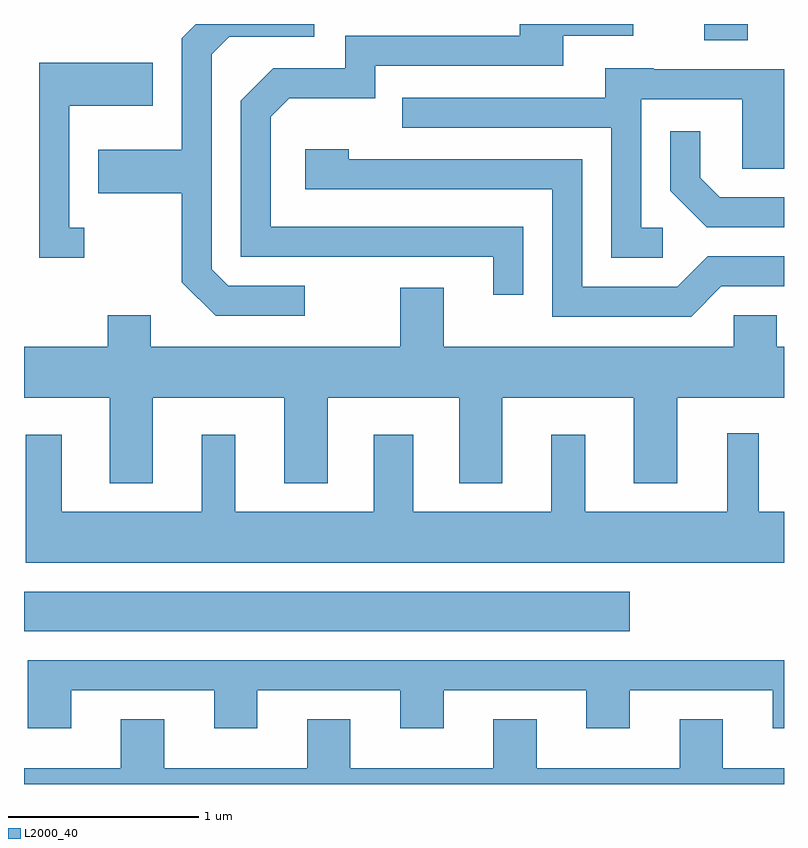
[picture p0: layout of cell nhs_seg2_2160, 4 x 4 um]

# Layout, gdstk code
import gdstk
lib = gdstk.Library(unit=1e-6, precision=1e-09)
def R(c, l, rs):  # rectangles x0, y0, x1, y1
    for r in rs: c.add(gdstk.rectangle(r[:2], r[2:], *l))
def P(c, l, *ps):  # polygons
    for p in ps: c.add(gdstk.Polygon(p, *l))
L2000_40 = (2000, 40)

nhs_seg2_2160 = lib.new_cell('nhs_seg2_2160')
R(nhs_seg2_2160, L2000_40, [(247.611,1082.606,250.799,1082.814), (251.191,1085.716,251.419,1085.802)])
P(nhs_seg2_2160, L2000_40, [(249.088,1084.424),(248.687,1084.424),(248.599,1084.512),(248.599,1085.644),(248.692,1085.736),(249.138,1085.736),(249.138,1085.802),(248.516,1085.802),(248.441,1085.727),(248.441,1085.139),(248.001,1085.139),(248.001,1084.911),(248.441,1084.911),(248.441,1084.444),(248.619,1084.266),(249.088,1084.266)],
  [(250.239,1084.734),(248.909,1084.734),(248.909,1085.314),(249.007,1085.411),(249.459,1085.411),(249.459,1085.581),(250.449,1085.581),(250.449,1085.741),(250.818,1085.741),(250.818,1085.802),(250.221,1085.802),(250.221,1085.739),(249.301,1085.739),(249.301,1085.569),(248.924,1085.569),(248.751,1085.397),(248.751,1084.576),(250.081,1084.576),(250.081,1084.378),(250.239,1084.378)],
  [(247.928,1084.729),(247.849,1084.729),(247.849,1085.371),(248.289,1085.371),(248.289,1085.599),(247.691,1085.599),(247.691,1084.571),(247.928,1084.571)],
  [(250.973,1084.729),(250.859,1084.729),(250.859,1085.406),(251.391,1085.406),(251.391,1085.041),(251.611,1085.041),(251.611,1085.564),(250.925,1085.564),(250.925,1085.569),(250.671,1085.569),(250.671,1085.414),(249.603,1085.414),(249.603,1085.256),(250.701,1085.256),(250.701,1084.571),(250.973,1084.571)],
  [(251.611,1084.889),(251.272,1084.889),(251.169,1084.992),(251.169,1085.238),(251.011,1085.238),(251.011,1084.924),(251.204,1084.731),(251.611,1084.731)],
  [(251.282,1084.421),(251.611,1084.421),(251.611,1084.579),(251.209,1084.579),(251.049,1084.419),(250.549,1084.419),(250.549,1085.089),(249.319,1085.089),(249.319,1085.144),(249.091,1085.144),(249.091,1084.931),(250.391,1084.931),(250.391,1084.261),(251.122,1084.261)],
  [(248.289,1083.836),(248.981,1083.836),(248.981,1083.386),(249.209,1083.386),(249.209,1083.836),(249.901,1083.836),(249.901,1083.386),(250.129,1083.386),(250.129,1083.836),(250.821,1083.836),(250.821,1083.386),(251.049,1083.386),(251.049,1083.836),(251.611,1083.836),(251.611,1084.104),(251.574,1084.104),(251.574,1084.269),(251.346,1084.269),(251.346,1084.104),(249.819,1084.104),(249.819,1084.414),(249.591,1084.414),(249.591,1084.104),(248.279,1084.104),(248.279,1084.269),(248.051,1084.269),(248.051,1084.104),(247.611,1084.104),(247.611,1083.836),(248.061,1083.836),(248.061,1083.386),(248.289,1083.386)],
  [(251.611,1083.234),(251.479,1083.234),(251.479,1083.648),(251.311,1083.648),(251.311,1083.234),(250.564,1083.234),(250.564,1083.639),(250.386,1083.639),(250.386,1083.234),(249.659,1083.234),(249.659,1083.639),(249.451,1083.639),(249.451,1083.234),(248.724,1083.234),(248.724,1083.639),(248.546,1083.639),(248.546,1083.234),(247.809,1083.234),(247.809,1083.639),(247.621,1083.639),(247.621,1082.966),(251.611,1082.966)],
  [(247.859,1082.296),(248.611,1082.296),(248.611,1082.096),(248.839,1082.096),(248.839,1082.296),(249.591,1082.296),(249.591,1082.096),(249.819,1082.096),(249.819,1082.296),(250.571,1082.296),(250.571,1082.096),(250.799,1082.096),(250.799,1082.296),(251.551,1082.296),(251.551,1082.096),(251.611,1082.096),(251.611,1082.454),(247.631,1082.454),(247.631,1082.096),(247.859,1082.096)],
  [(251.611,1081.884),(251.289,1081.884),(251.289,1082.144),(251.061,1082.144),(251.061,1081.884),(250.309,1081.884),(250.309,1082.144),(250.081,1082.144),(250.081,1081.884),(249.329,1081.884),(249.329,1082.144),(249.101,1082.144),(249.101,1081.884),(248.349,1081.884),(248.349,1082.144),(248.121,1082.144),(248.121,1081.884),(247.611,1081.884),(247.611,1081.802),(251.611,1081.802)])

lib.write_gds('nhs_seg2_2160.gds')
